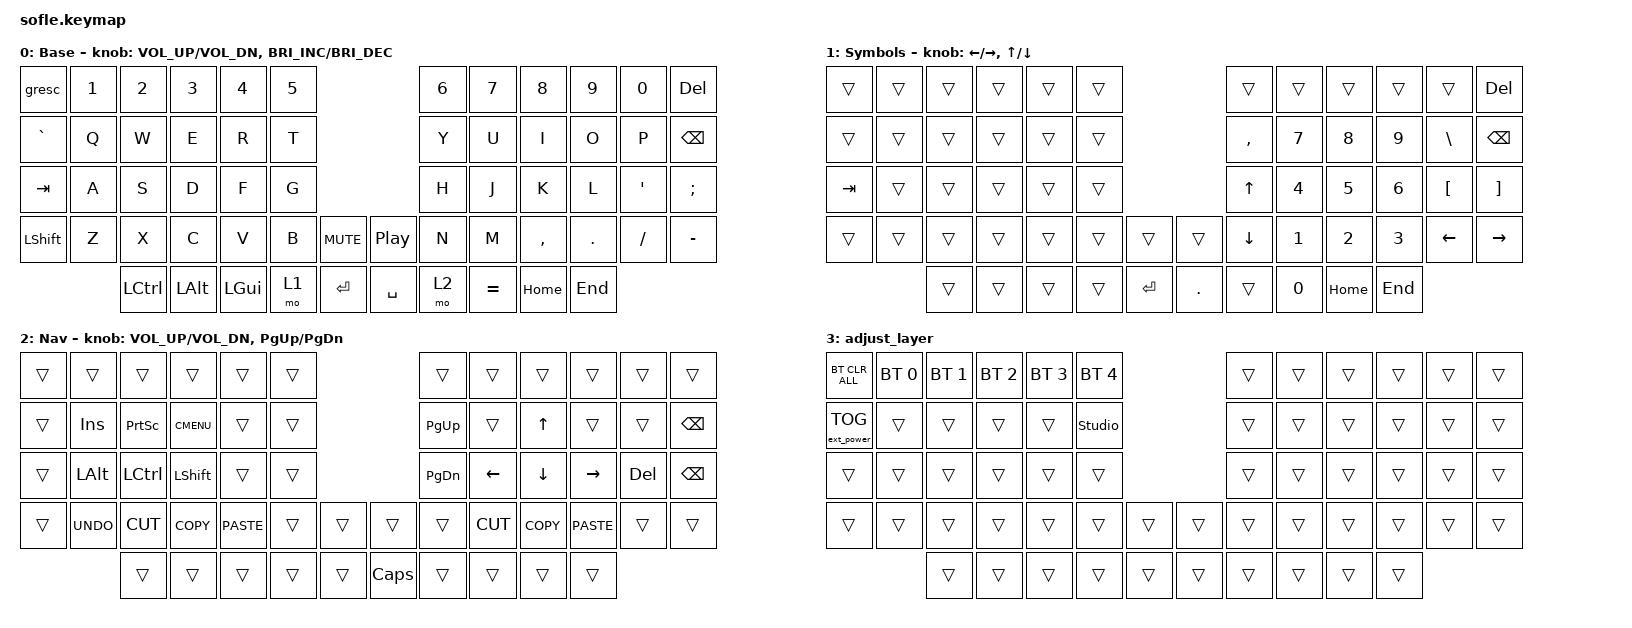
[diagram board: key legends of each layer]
/*
 * Copyright (c) 2020 The ZMK Contributors
 *
 * SPDX-License-Identifier: MIT
 */

#include <behaviors.dtsi>
#include <dt-bindings/zmk/bt.h>
#include <dt-bindings/zmk/ext_power.h>
#include <dt-bindings/zmk/keys.h>

#define BASE 0
#define LOWER 1
#define RAISE 2
#define ADJUST 3

/ {
    // Activate ADJUST layer by pressing raise and lower

    conditional_layers {
        compatible = "zmk,conditional-layers";

        adjust_layer {
            if-layers = <1 2>;
            then-layer = <3>;
        };
    };

    combos {
        compatible = "zmk,combos";

        backspace {
            bindings = <&kp BACKSPACE>;
            key-positions = <32 31>;
        };

        delete {
            bindings = <&kp DELETE>;
            key-positions = <27 33>;
        };

        esc {
            bindings = <&kp ESCAPE>;
            key-positions = <25 41>;
        };
    };

    behaviors {
        caps: caps {
            compatible = "zmk,behavior-caps-word";
            label = "CAPS";
            #binding-cells = <0>;
            continue-list = <POUND MINUS BACKSPACE UNDERSCORE>;
        };
    };

    keymap {
        compatible = "zmk,keymap";

        default_layer {
            display-name = "Base";

            // ------------------------------------------------------------------------------------------------------------
            // |   `   |  1  |  2  |  3   |  4   |  5   |                   |  6   |  7    |  8    |  9   |   0   |       |
            // |  ESC  |  Q  |  W  |  E   |  R   |  T   |                   |  Y   |  U    |  I    |  O   |   P   | BKSPC |
            // |  TAB  |  A  |  S  |  D   |  F   |  G   |                   |  H   |  J    |  K    |  L   |   ;   |   '   |
            // | SHIFT |  Z  |  X  |  C   |  V   |  B   |  MUTE  |  |       |  N   |  M    |  ,    |  .   |   /   | SHIFT |
            //               | GUI | ALT  | CTRL | LOWER|  ENTER |  | SPACE | RAISE| CTRL  | ALT   | GUI  |

            bindings = <
&gresc          &kp N1  &kp N2            &kp N3    &kp N4    &kp N5                                  &kp N6  &kp N7     &kp N8     &kp N9   &kp N0          &kp DEL
&kp GRAVE       &kp Q   &kp W             &kp E     &kp R     &kp T                                   &kp Y   &kp U      &kp I      &kp O    &kp P           &kp BSPC
&kp TAB         &kp A   &kp S             &kp D     &kp F     &kp G                                   &kp H   &kp J      &kp K      &kp L    &kp APOSTROPHE  &kp SEMICOLON
&kp LEFT_SHIFT  &kp Z   &kp X             &kp C     &kp V     &kp B   &kp C_MUTE    &kp C_PLAY_PAUSE  &kp N   &kp M      &kp COMMA  &kp DOT  &kp FSLH        &kp MINUS
                        &kp LEFT_CONTROL  &kp LALT  &kp LGUI  &mo 1   &kp ENTER     &kp SPACE         &mo 2   &kp EQUAL  &kp HOME   &kp END
            >;

            sensor-bindings =
                <&inc_dec_kp C_VOL_UP C_VOL_DN>,
                <&inc_dec_kp C_BRIGHTNESS_INC C_BRIGHTNESS_DEC>;
        };

        lower_layer {
            display-name = "Symbols";

            // TODO: Some binds are waiting for shifted keycode support.
            // ------------------------------------------------------------------------------------------------------------
            // |       |  F1 |  F2 |  F3  |  F4  |  F5  |                   |  F6  |  F7   |  F8   |  F9  |  F10  |  F11  |
            // |   `   |  1  |  2  |  3   |  4   |  5   |                   |  6   |  7    |  8    |  9   |   0   |  F12  |
            // |       |  !  |  @  |  #   |  $   |  %   |                   |  ^   |  &    |  *    |  (   |   )   |   |   |
            // |       |  =  |  -  |  +   |  {   |  }   |        |  |       |  [   |  ]    |  ;    |  :   |   \   |       |
            //               |     |      |      |      |        |  |       |      |       |       |      |

            bindings = <
&trans   &trans  &trans  &trans  &trans  &trans                           &trans     &trans  &trans    &trans   &trans            &kp DEL
&trans   &trans  &trans  &trans  &trans  &trans                           &kp COMMA  &kp N7  &kp N8    &kp N9   &kp BACKSLASH     &kp BACKSPACE
&kp TAB  &trans  &trans  &trans  &trans  &trans                           &kp UP     &kp N4  &kp N5    &kp N6   &kp LEFT_BRACKET  &kp RIGHT_BRACKET
&trans   &trans  &trans  &trans  &trans  &trans  &trans       &trans      &kp DOWN   &kp N1  &kp N2    &kp N3   &kp LEFT          &kp RIGHT
                 &trans  &trans  &trans  &trans  &kp ENTER    &kp PERIOD  &trans     &kp N0  &kp HOME  &kp END
            >;

            sensor-bindings =
                <&inc_dec_kp LEFT_ARROW RIGHT_ARROW>,
                <&inc_dec_kp UP_ARROW DOWN_ARROW>;
        };

        raise_layer {
            display-name = "Nav";

            // ------------------------------------------------------------------------------------------------------------
            // | BTCLR | BT1  | BT2  |  BT3  |  BT4  |  BT5 |                |      |      |       |      |       |       |
            // |       | INS  | PSCR | GUI   |       |      |                | PGUP |      |   ^   |      |       |       |
            // |       | ALT  | CTRL | SHIFT |       | CAPS |                | PGDN |   <- |   v   |  ->  |  DEL  | BKSPC |
            // |       | UNDO | CUT  | COPY  | PASTE |      |      |  |      |      |      |       |      |       |       |
            //                |      |       |       |      |      |  |      |      |      |       |      |

            bindings = <
&trans  &trans      &trans     &trans       &trans       &trans                          &trans     &trans     &trans      &trans       &trans   &trans
&trans  &kp INS     &kp PSCRN  &kp K_CMENU  &trans       &trans                          &kp PG_UP  &trans     &kp UP      &trans       &trans   &kp BACKSPACE
&trans  &kp LALT    &kp LCTRL  &kp LSHFT    &trans       &trans                          &kp PG_DN  &kp LEFT   &kp DOWN    &kp RIGHT    &kp DEL  &kp BSPC
&trans  &kp K_UNDO  &kp K_CUT  &kp K_COPY   &kp K_PASTE  &trans  &trans    &trans        &trans     &kp K_CUT  &kp K_COPY  &kp K_PASTE  &trans   &trans
                    &trans     &trans       &trans       &trans  &trans    &kp CAPSLOCK  &trans     &trans     &trans      &trans
            >;

            sensor-bindings = <&inc_dec_kp C_VOL_UP C_VOL_DN &inc_dec_kp PG_UP PG_DN>;
        };

        adjust_layer {
            bindings = <
&bt BT_CLR_ALL     &bt BT_SEL 0  &bt BT_SEL 1  &bt BT_SEL 2  &bt BT_SEL 3  &bt BT_SEL 4                      &trans  &trans  &trans  &trans  &trans  &trans
&ext_power EP_TOG  &trans        &trans        &trans        &trans        &studio_unlock                    &trans  &trans  &trans  &trans  &trans  &trans
&trans             &trans        &trans        &trans        &trans        &trans                            &trans  &trans  &trans  &trans  &trans  &trans
&trans             &trans        &trans        &trans        &trans        &trans          &trans    &trans  &trans  &trans  &trans  &trans  &trans  &trans
                                 &trans        &trans        &trans        &trans          &trans    &trans  &trans  &trans  &trans  &trans
            >;
        };
    };
};
